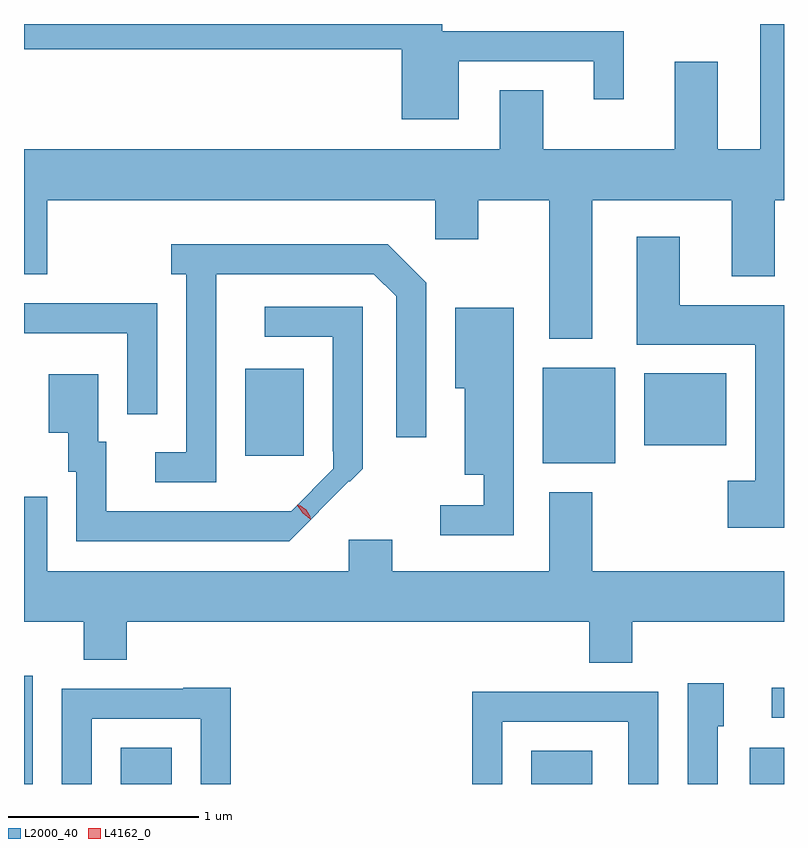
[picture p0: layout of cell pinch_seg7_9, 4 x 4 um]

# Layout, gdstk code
import gdstk
lib = gdstk.Library(unit=1e-6, precision=1e-09)
def R(c, l, rs):  # rectangles x0, y0, x1, y1
    for r in rs: c.add(gdstk.rectangle(r[:2], r[2:], *l))
def P(c, l, *ps):  # polygons
    for p in ps: c.add(gdstk.Polygon(p, *l))
L2000_40 = (2000, 40)
L4162_0 = (4162, 0)

pinch_seg7_9 = lib.new_cell('pinch_seg7_9')
R(pinch_seg7_9, L2000_40, [(1614.857,1777.843,1614.904,1778.414), (1615.366,1777.843,1615.634,1778.034), (1617.526,1777.843,1617.849,1778.019), (1618.676,1777.843,1618.857,1778.034), (1618.793,1778.191,1618.857,1778.349), (1617.586,1779.531,1617.969,1780.034), (1616.021,1779.571,1616.329,1780.029), (1618.121,1779.626,1618.554,1780.004)])
P(pinch_seg7_9, L2000_40, [(1617.144,1781.646),(1617.856,1781.646),(1617.856,1781.448),(1618.014,1781.448),(1618.014,1781.804),(1617.059,1781.804),(1617.059,1781.843),(1614.857,1781.843),(1614.857,1781.711),(1616.846,1781.711),(1616.846,1781.341),(1617.144,1781.341)],
  [(1617.849,1780.916),(1618.581,1780.916),(1618.581,1780.516),(1618.809,1780.516),(1618.809,1780.916),(1618.857,1780.916),(1618.857,1781.843),(1618.731,1781.843),(1618.731,1781.184),(1618.509,1781.184),(1618.509,1781.644),(1618.281,1781.644),(1618.281,1781.184),(1617.589,1781.184),(1617.589,1781.494),(1617.361,1781.494),(1617.361,1781.184),(1614.857,1781.184),(1614.857,1780.526),(1614.979,1780.526),(1614.979,1780.916),(1617.021,1780.916),(1617.021,1780.711),(1617.249,1780.711),(1617.249,1780.916),(1617.621,1780.916),(1617.621,1780.186),(1617.849,1780.186)],
  [(1618.857,1780.364),(1618.309,1780.364),(1618.309,1780.724),(1618.081,1780.724),(1618.081,1780.156),(1618.706,1780.156),(1618.706,1779.439),(1618.561,1779.439),(1618.561,1779.191),(1618.857,1779.191)],
  [(1615.869,1780.526),(1616.699,1780.526),(1616.816,1780.409),(1616.816,1779.668),(1616.974,1779.668),(1616.974,1780.482),(1616.772,1780.684),(1615.633,1780.684),(1615.633,1780.526),(1615.711,1780.526),(1615.711,1779.589),(1615.548,1779.589),(1615.548,1779.431),(1615.869,1779.431)],
  [(1615.559,1780.374),(1614.857,1780.374),(1614.857,1780.216),(1615.401,1780.216),(1615.401,1779.788),(1615.559,1779.788)],
  [(1616.567,1779.437),(1616.571,1779.433),(1616.639,1779.502),(1616.639,1780.354),(1616.123,1780.354),(1616.123,1780.196),(1616.481,1780.196),(1616.481,1779.595),(1616.485,1779.595),(1616.485,1779.501),(1616.263,1779.279),(1615.289,1779.279),(1615.289,1779.644),(1615.249,1779.644),(1615.249,1779.999),(1614.986,1779.999),(1614.986,1779.691),(1615.091,1779.691),(1615.091,1779.486),(1615.131,1779.486),(1615.131,1779.121),(1616.252,1779.121)],
  [(1617.434,1780.349),(1617.126,1780.349),(1617.126,1779.926),(1617.176,1779.926),(1617.176,1779.471),(1617.276,1779.471),(1617.276,1779.309),(1617.048,1779.309),(1617.048,1779.151),(1617.434,1779.151)],
  [(1618.059,1778.696),(1618.857,1778.696),(1618.857,1778.964),(1617.849,1778.964),(1617.849,1779.379),(1617.621,1779.379),(1617.621,1778.964),(1616.794,1778.964),(1616.794,1779.129),(1616.566,1779.129),(1616.566,1778.964),(1614.979,1778.964),(1614.979,1779.354),(1614.857,1779.354),(1614.857,1778.696),(1615.171,1778.696),(1615.171,1778.496),(1615.399,1778.496),(1615.399,1778.696),(1617.831,1778.696),(1617.831,1778.481),(1618.059,1778.481)],
  [(1618.509,1778.146),(1618.539,1778.146),(1618.539,1778.374),(1618.351,1778.374),(1618.351,1777.843),(1618.509,1777.843)],
  [(1615.214,1778.186),(1615.786,1778.186),(1615.786,1777.843),(1615.944,1777.843),(1615.944,1778.349),(1615.695,1778.349),(1615.695,1778.344),(1615.056,1778.344),(1615.056,1777.843),(1615.214,1777.843)],
  [(1617.374,1778.171),(1618.036,1778.171),(1618.036,1777.843),(1618.194,1777.843),(1618.194,1778.329),(1617.216,1778.329),(1617.216,1777.843),(1617.374,1777.843)])
P(pinch_seg7_9, L4162_0, [(1616.364,1779.237),(1616.323,1779.268),(1616.296,1779.311),(1616.296,1779.312),(1616.297,1779.312),(1616.338,1779.281),(1616.365,1779.238),(1616.365,1779.237)],
  [(1616.366,1779.246),(1616.328,1779.272),(1616.305,1779.312),(1616.305,1779.313),(1616.306,1779.313),(1616.343,1779.286),(1616.366,1779.246),(1616.366,1779.246)])

lib.write_gds('pinch_seg7_9.gds')
